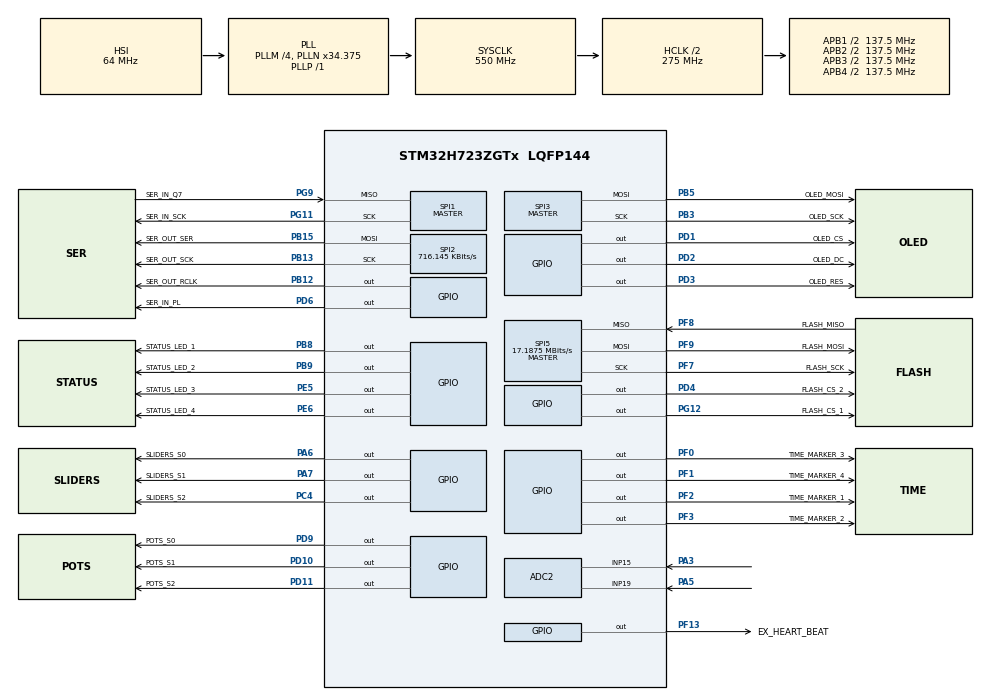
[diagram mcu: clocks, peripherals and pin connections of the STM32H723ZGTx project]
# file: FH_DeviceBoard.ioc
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ADC2.Channel-0\#ChannelRegularConversion=ADC_CHANNEL_15
ADC2.Channel-1\#ChannelRegularConversion=ADC_CHANNEL_19
ADC2.ClockPrescaler=ADC_CLOCK_ASYNC_DIV8
ADC2.ContinuousConvMode=DISABLE
ADC2.ConversionDataManagement=ADC_CONVERSIONDATA_DMA_ONESHOT
ADC2.EOCSelection=ADC_EOC_SEQ_CONV
ADC2.ExternalTrigConv=ADC_SOFTWARE_START
ADC2.NbrOfConversion=2
ADC2.NbrOfConversionFlag=1
ADC2.OffsetNumber-0\#ChannelRegularConversion=ADC_OFFSET_NONE
ADC2.OffsetNumber-1\#ChannelRegularConversion=ADC_OFFSET_NONE
ADC2.OffsetSignedSaturation-0\#ChannelRegularConversion=DISABLE
ADC2.OffsetSignedSaturation-1\#ChannelRegularConversion=DISABLE
ADC2.Rank-0\#ChannelRegularConversion=1
ADC2.Rank-1\#ChannelRegularConversion=2
ADC2.SamplingTime-0\#ChannelRegularConversion=ADC_SAMPLETIME_32CYCLES_5
ADC2.SamplingTime-1\#ChannelRegularConversion=ADC_SAMPLETIME_32CYCLES_5
CORTEX_M7.CPU_ICache=Enabled
CORTEX_M7.default_mode_Activation=1
Dma.ADC2.1.Direction=DMA_PERIPH_TO_MEMORY
Dma.ADC2.1.EventEnable=DISABLE
Dma.ADC2.1.FIFOMode=DMA_FIFOMODE_DISABLE
Dma.ADC2.1.Instance=DMA1_Stream1
Dma.ADC2.1.MemDataAlignment=DMA_MDATAALIGN_HALFWORD
Dma.ADC2.1.MemInc=DMA_MINC_ENABLE
Dma.ADC2.1.Mode=DMA_NORMAL
Dma.ADC2.1.PeriphDataAlignment=DMA_PDATAALIGN_HALFWORD
Dma.ADC2.1.PeriphInc=DMA_PINC_DISABLE
Dma.ADC2.1.Polarity=HAL_DMAMUX_REQ_GEN_RISING
Dma.ADC2.1.Priority=DMA_PRIORITY_MEDIUM
Dma.ADC2.1.RequestNumber=1
Dma.ADC2.1.SignalID=NONE
Dma.ADC2.1.SyncEnable=DISABLE
Dma.ADC2.1.SyncPolarity=HAL_DMAMUX_SYNC_NO_EVENT
Dma.ADC2.1.SyncRequestNumber=1
Dma.ADC2.1.SyncSignalID=NONE
Dma.Request0=SPI2_TX
Dma.Request1=ADC2
Dma.SPI2_TX.0.Direction=DMA_MEMORY_TO_PERIPH
Dma.SPI2_TX.0.EventEnable=DISABLE
Dma.SPI2_TX.0.FIFOMode=DMA_FIFOMODE_DISABLE
Dma.SPI2_TX.0.Instance=DMA1_Stream0
Dma.SPI2_TX.0.MemDataAlignment=DMA_MDATAALIGN_BYTE
Dma.SPI2_TX.0.MemInc=DMA_MINC_ENABLE
Dma.SPI2_TX.0.Mode=DMA_NORMAL
Dma.SPI2_TX.0.PeriphDataAlignment=DMA_PDATAALIGN_BYTE
Dma.SPI2_TX.0.PeriphInc=DMA_PINC_DISABLE
Dma.SPI2_TX.0.Polarity=HAL_DMAMUX_REQ_GEN_RISING
Dma.SPI2_TX.0.Priority=DMA_PRIORITY_LOW
Dma.SPI2_TX.0.RequestNumber=1
Dma.SPI2_TX.0.SignalID=NONE
Dma.SPI2_TX.0.SyncEnable=DISABLE
Dma.SPI2_TX.0.SyncPolarity=HAL_DMAMUX_SYNC_NO_EVENT
Dma.SPI2_TX.0.SyncRequestNumber=1
Dma.SPI2_TX.0.SyncSignalID=NONE
FREERTOS.Tasks01=defaultTask,24,128,StartDefaultTask,Default,NULL,Dynamic,NULL,NULL
FREERTOS.configENABLE_FPU=1
FREERTOS.configTOTAL_HEAP_SIZE=245760
FREERTOS.configUSE_NEWLIB_REENTRANT=1
Mcu.Family=STM32H7
Mcu.Name=STM32H723ZGTx
Mcu.Package=LQFP144
NVIC.ADC_IRQn=true\:5\:0\:false\:false\:true\:true\:true\:true\:true
NVIC.DMA1_Stream0_IRQn=true\:5\:0\:false\:false\:true\:true\:false\:true\:true
NVIC.DMA1_Stream1_IRQn=true\:5\:0\:false\:false\:true\:true\:false\:true\:true
NVIC.PriorityGroup=NVIC_PRIORITYGROUP_4
NVIC.SPI2_IRQn=true\:5\:0\:false\:false\:true\:true\:false\:true\:true
NVIC.TIM15_IRQn=true\:5\:0\:false\:false\:true\:true\:true\:true\:true
NVIC.TIM1_UP_IRQn=true\:15\:0\:false\:false\:true\:false\:false\:true\:true
NVIC.TIM4_IRQn=true\:5\:0\:false\:false\:true\:true\:true\:true\:true
NVIC.TIM6_DAC_IRQn=true\:5\:0\:false\:false\:true\:true\:true\:true\:true
NVIC.TimeBase=TIM1_UP_IRQn
NVIC.TimeBaseIP=TIM1
PA13(JTMS/SWDIO).Mode=Serial_Wire
PA13(JTMS/SWDIO).Signal=DEBUG_JTMS-SWDIO
PA14(JTCK/SWCLK).Mode=Serial_Wire
PA14(JTCK/SWCLK).Signal=DEBUG_JTCK-SWCLK
PA3.Signal=ADCx_INP15
PA5.Signal=ADCx_INP19
PA6.GPIO_Label=SLIDERS_S0
PA6.GPIO_Speed=GPIO_SPEED_FREQ_MEDIUM
PA6.Signal=GPIO_Output
PA7.GPIO_Label=SLIDERS_S1
PA7.GPIO_Speed=GPIO_SPEED_FREQ_MEDIUM
PA7.Signal=GPIO_Output
PB12.GPIO_Label=SER_OUT_RCLK
PB12.GPIO_Speed=GPIO_SPEED_FREQ_MEDIUM
PB12.PinState=GPIO_PIN_SET
PB12.Signal=GPIO_Output
PB13.GPIO_Label=SER_OUT_SCK
PB13.Mode=TX_Only_Simplex_Unidirect_Master
PB13.Signal=SPI2_SCK
PB15.GPIO_Label=SER_OUT_SER
PB15.Mode=TX_Only_Simplex_Unidirect_Master
PB15.Signal=SPI2_MOSI
PB3(JTDO/TRACESWO).GPIO_Label=OLED_SCK
PB3(JTDO/TRACESWO).Mode=TX_Only_Simplex_Unidirect_Master
PB3(JTDO/TRACESWO).Signal=SPI3_SCK
PB5.GPIO_Label=OLED_MOSI
PB5.Mode=TX_Only_Simplex_Unidirect_Master
PB5.Signal=SPI3_MOSI
PB8.GPIO_Label=STATUS_LED_1
PB8.GPIO_ModeDefaultOutputPP=GPIO_MODE_OUTPUT_OD
PB8.GPIO_PuPd=GPIO_NOPULL
PB8.PinState=GPIO_PIN_SET
PB8.Signal=GPIO_Output
PB9.GPIO_Label=STATUS_LED_2
PB9.GPIO_ModeDefaultOutputPP=GPIO_MODE_OUTPUT_OD
PB9.GPIO_PuPd=GPIO_NOPULL
PB9.PinState=GPIO_PIN_SET
PB9.Signal=GPIO_Output
PC4.GPIO_Label=SLIDERS_S2
PC4.GPIO_Speed=GPIO_SPEED_FREQ_MEDIUM
PC4.Signal=GPIO_Output
PD1.GPIO_Label=OLED_CS
PD1.GPIO_Speed=GPIO_SPEED_FREQ_MEDIUM
PD1.PinState=GPIO_PIN_SET
PD1.Signal=GPIO_Output
PD10.GPIO_Label=POTS_S1
PD10.GPIO_Speed=GPIO_SPEED_FREQ_MEDIUM
PD10.Signal=GPIO_Output
PD11.GPIO_Label=POTS_S2
PD11.GPIO_Speed=GPIO_SPEED_FREQ_MEDIUM
PD11.Signal=GPIO_Output
PD2.GPIO_Label=OLED_DC
PD2.GPIO_Speed=GPIO_SPEED_FREQ_MEDIUM
PD2.PinState=GPIO_PIN_SET
PD2.Signal=GPIO_Output
PD3.GPIO_Label=OLED_RES
PD3.GPIO_Speed=GPIO_SPEED_FREQ_MEDIUM
PD3.PinState=GPIO_PIN_SET
PD3.Signal=GPIO_Output
PD4.GPIO_Label=FLASH_CS_2
PD4.GPIO_Speed=GPIO_SPEED_FREQ_MEDIUM
PD4.PinState=GPIO_PIN_SET
PD4.Signal=GPIO_Output
PD6.GPIO_Label=SER_IN_PL
PD6.GPIO_Speed=GPIO_SPEED_FREQ_MEDIUM
PD6.PinState=GPIO_PIN_SET
PD6.Signal=GPIO_Output
PD9.GPIO_Label=POTS_S0
PD9.GPIO_Speed=GPIO_SPEED_FREQ_MEDIUM
PD9.Signal=GPIO_Output
PE5.GPIO_Label=STATUS_LED_3
PE5.GPIO_ModeDefaultOutputPP=GPIO_MODE_OUTPUT_OD
PE5.GPIO_PuPd=GPIO_NOPULL
PE5.PinState=GPIO_PIN_SET
PE5.Signal=GPIO_Output
PE6.GPIO_Label=STATUS_LED_4
PE6.GPIO_ModeDefaultOutputPP=GPIO_MODE_OUTPUT_OD
PE6.GPIO_PuPd=GPIO_NOPULL
PE6.PinState=GPIO_PIN_SET
PE6.Signal=GPIO_Output
PF0.GPIO_Label=TIME_MARKER_3
PF0.GPIO_Speed=GPIO_SPEED_FREQ_VERY_HIGH
PF0.Signal=GPIO_Output
PF1.GPIO_Label=TIME_MARKER_4
PF1.GPIO_Speed=GPIO_SPEED_FREQ_VERY_HIGH
PF1.Signal=GPIO_Output
PF13.GPIO_Label=EX_HEART_BEAT
PF13.PinState=GPIO_PIN_SET
PF13.Signal=GPIO_Output
PF2.GPIO_Label=TIME_MARKER_1
PF2.GPIO_Speed=GPIO_SPEED_FREQ_VERY_HIGH
PF2.Signal=GPIO_Output
PF3.GPIO_Label=TIME_MARKER_2
PF3.GPIO_Speed=GPIO_SPEED_FREQ_VERY_HIGH
PF3.Signal=GPIO_Output
PF7.GPIO_Label=FLASH_SCK
PF7.Mode=Full_Duplex_Master
PF7.Signal=SPI5_SCK
PF8.GPIO_Label=FLASH_MISO
PF8.Mode=Full_Duplex_Master
PF8.Signal=SPI5_MISO
PF9.GPIO_Label=FLASH_MOSI
PF9.Mode=Full_Duplex_Master
PF9.Signal=SPI5_MOSI
PG11.GPIO_Label=SER_IN_SCK
PG11.Mode=RX_Only_Simplex_Unidirect_Master
PG11.Signal=SPI1_SCK
PG12.GPIO_Label=FLASH_CS_1
PG12.GPIO_Speed=GPIO_SPEED_FREQ_MEDIUM
PG12.PinState=GPIO_PIN_SET
PG12.Signal=GPIO_Output
PG9.GPIO_Label=SER_IN_Q7
PG9.Mode=RX_Only_Simplex_Unidirect_Master
PG9.Signal=SPI1_MISO
PH0-OSC_IN.Mode=HSE-External-Oscillator
PH0-OSC_IN.Signal=RCC_OSC_IN
PH1-OSC_OUT.Mode=HSE-External-Oscillator
PH1-OSC_OUT.Signal=RCC_OSC_OUT
ProjectManager.HeapSize=0x200
ProjectManager.StackSize=0x400
ProjectManager.TargetToolchain=STM32CubeIDE
RCC.ADCFreq_Value=129000000
RCC.APB1Freq_Value=137500000
RCC.APB2Freq_Value=137500000
RCC.APB3Freq_Value=137500000
RCC.APB4Freq_Value=137500000
RCC.CortexFreq_Value=550000000
RCC.D1PPRE=RCC_APB3_DIV2
RCC.D2PPRE1=RCC_APB1_DIV2
RCC.D2PPRE2=RCC_APB2_DIV2
RCC.D3PPRE=RCC_APB4_DIV2
RCC.DIVM1=4
RCC.DIVN1=34
RCC.DIVP1=1
RCC.DIVQ1=3
RCC.HCLKFreq_Value=275000000
RCC.HPRE=RCC_HCLK_DIV2
RCC.PLL2FRACN=0
RCC.PLL3FRACN=0
RCC.PLLFRACN=3072
RCC.SYSCLKFreq_VALUE=550000000
RCC.SYSCLKSource=RCC_SYSCLKSOURCE_PLLCLK
RCC.USBFreq_Value=183333333.33333334
SH.ADCx_INP15.0=ADC2_INP15,IN15-Single-Ended
SH.ADCx_INP19.0=ADC2_INP19,IN19-Single-Ended
SPI1.BaudRatePrescaler=SPI_BAUDRATEPRESCALER_8
SPI1.CalculateBaudRate=22.916666 MBits/s
SPI1.DataSize=SPI_DATASIZE_8BIT
SPI1.Direction=SPI_DIRECTION_2LINES_RXONLY
SPI1.Mode=SPI_MODE_MASTER
SPI1.VirtualType=VM_MASTER
SPI2.BaudRatePrescaler=SPI_BAUDRATEPRESCALER_256
SPI2.CalculateBaudRate=716.145 KBits/s
SPI2.DataSize=SPI_DATASIZE_8BIT
SPI2.Direction=SPI_DIRECTION_2LINES_TXONLY
SPI2.Mode=SPI_MODE_MASTER
SPI2.VirtualType=VM_MASTER
SPI3.BaudRatePrescaler=SPI_BAUDRATEPRESCALER_16
SPI3.CalculateBaudRate=11.458333 MBits/s
SPI3.DataSize=SPI_DATASIZE_8BIT
SPI3.Direction=SPI_DIRECTION_2LINES_TXONLY
SPI3.Mode=SPI_MODE_MASTER
SPI3.VirtualType=VM_MASTER
SPI5.BaudRatePrescaler=SPI_BAUDRATEPRESCALER_8
SPI5.CalculateBaudRate=17.1875 MBits/s
SPI5.DataSize=SPI_DATASIZE_8BIT
SPI5.Direction=SPI_DIRECTION_2LINES
SPI5.Mode=SPI_MODE_MASTER
SPI5.VirtualType=VM_MASTER
TIM15.Period=100 - 1
TIM15.Prescaler=24000 - 1
TIM4.Period=1000 - 1
TIM4.Prescaler=120 - 1
TIM6.Prescaler=120 - 1
VP_FREERTOS_VS_CMSIS_V2.Mode=CMSIS_V2
VP_MEMORYMAP_VS_MEMORYMAP.Mode=CurAppReg
VP_SYS_VS_tim1.Mode=TIM1
VP_TIM15_VS_ClockSourceINT.Mode=Internal
VP_TIM4_VS_ClockSourceINT.Mode=Internal
VP_TIM6_VS_ClockSourceINT.Mode=Enable_Timer
board=custom

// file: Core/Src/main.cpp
/* USER CODE BEGIN Header */
/**
  ******************************************************************************
  * @file           : main.c
  * @brief          : Main program body
  ******************************************************************************
  * @attention
  *
  * Copyright (c) 2025 STMicroelectronics.
  * All rights reserved.
  *
  * This software is licensed under terms that can be found in the LICENSE file
  * in the root directory of this software component.
  * If no LICENSE file comes with this software, it is provided AS-IS.
  *
  ******************************************************************************
  */
/* USER CODE END Header */
#include "main.h"
#include "cmsis_os.h"

/* USER CODE BEGIN Includes */

#include "../../DeviceBoardEngine/UI_Definitions.h"

#include "CasualNoises.h"
#include "SystemConfig.h"

//#include "YellowPages.h"

#include "UI_Thread.h"
//#include "EventHandlerThread.h"

#include "../CasualNoises/NerveNet/NerveNetMessage.h"

/* USER CODE END Includes */

ADC_HandleTypeDef hadc2;
DMA_HandleTypeDef hdma_adc2;

SPI_HandleTypeDef hspi1;
SPI_HandleTypeDef hspi2;
SPI_HandleTypeDef hspi3;
SPI_HandleTypeDef hspi5;
DMA_HandleTypeDef hdma_spi2_tx;

TIM_HandleTypeDef htim4;
TIM_HandleTypeDef htim6;
TIM_HandleTypeDef htim15;

/* Definitions for defaultTask */
osThreadId_t defaultTaskHandle;
const osThreadAttr_t defaultTask_attributes = {
  .name = "defaultTask",
  .stack_size = 128 * 4,
  .priority = (osPriority_t) osPriorityNormal,
};

void SystemClock_Config(void);
static void MPU_Config(void);
static void MX_GPIO_Init(void);
static void MX_DMA_Init(void);
static void MX_SPI2_Init(void);
static void MX_SPI3_Init(void);
static void MX_SPI5_Init(void);
static void MX_TIM4_Init(void);
static void MX_SPI1_Init(void);
static void MX_ADC2_Init(void);
static void MX_TIM6_Init(void);
static void MX_TIM15_Init(void);
void StartDefaultTask(void *argument);

/* USER CODE BEGIN 0 */

/*
 * displayStatus()
 */
void displayStatus(eStatusCodes status)
{
	uint32_t code = (uint32_t)status;
	HAL_GPIO_WritePin(GPIOB, STATUS_LED_2_Pin|STATUS_LED_1_Pin, GPIO_PIN_SET);
	HAL_GPIO_WritePin(GPIOE, STATUS_LED_4_Pin|STATUS_LED_3_Pin, GPIO_PIN_SET);
	if (code & 0x00000001)
		HAL_GPIO_WritePin(GPIOB, STATUS_LED_1_Pin, GPIO_PIN_RESET);
	if (code & 0x00000002)
		HAL_GPIO_WritePin(GPIOB, STATUS_LED_2_Pin, GPIO_PIN_RESET);
	if (code & 0x00000004)
		HAL_GPIO_WritePin(GPIOE, STATUS_LED_3_Pin, GPIO_PIN_RESET);
	if (code & 0x00000008)
		HAL_GPIO_WritePin(GPIOE, STATUS_LED_4_Pin, GPIO_PIN_RESET);
}

/*
 * Time marker functions used for performance measurement using a logic analyzer
 */
void toggleTimeMarker_1()
{
	HAL_GPIO_TogglePin(GPIOF, TIME_MARKER_1_Pin);
}

void setTimeMarker_1()
{
	HAL_GPIO_WritePin(GPIOF, TIME_MARKER_1_Pin, GPIO_PIN_SET);
}

void resetTimeMarker_1()
{
	HAL_GPIO_WritePin(GPIOF, TIME_MARKER_1_Pin, GPIO_PIN_RESET);
}

void toggleTimeMarker_2()
{
	HAL_GPIO_TogglePin(GPIOF, TIME_MARKER_2_Pin);
}

void setTimeMarker_2()
{
	HAL_GPIO_WritePin(GPIOF, TIME_MARKER_2_Pin, GPIO_PIN_SET);
}

void resetTimeMarker_2()
{
	HAL_GPIO_WritePin(GPIOF, TIME_MARKER_2_Pin, GPIO_PIN_RESET);
}

void toggleTimeMarker_3()
{
	HAL_GPIO_TogglePin(GPIOF, TIME_MARKER_3_Pin);
}

void setTimeMarker_3()
{
	HAL_GPIO_WritePin(GPIOF, TIME_MARKER_3_Pin, GPIO_PIN_SET);
}

void resetTimeMarker_3()
{
	HAL_GPIO_WritePin(GPIOF, TIME_MARKER_3_Pin, GPIO_PIN_RESET);
}

void toggleTimeMarker_4()
{
	HAL_GPIO_TogglePin(GPIOF, TIME_MARKER_4_Pin);
}

void setTimeMarker_4()
{
	HAL_GPIO_WritePin(GPIOF, TIME_MARKER_4_Pin, GPIO_PIN_SET);
}

void resetTimeMarker_4()
{
	HAL_GPIO_WritePin(GPIOF, TIME_MARKER_4_Pin, GPIO_PIN_RESET);
}

/* USER CODE END 0 */

int main(void)
{

  /* MPU Configuration--------------------------------------------------------*/
  MPU_Config();

  /* Enable the CPU Cache */

  /* Enable I-Cache---------------------------------------------------------*/
  SCB_EnableICache();

  /* MCU Configuration--------------------------------------------------------*/

  /* Reset of all peripherals, Initializes the Flash interface and the Systick. */
  HAL_Init();

  /* Configure the system clock */
  SystemClock_Config();

  /* Initialize all configured peripherals */
  MX_GPIO_Init();
  MX_DMA_Init();
  MX_SPI2_Init();
  MX_SPI3_Init();
  MX_SPI5_Init();
  MX_TIM4_Init();
  MX_SPI1_Init();
  MX_ADC2_Init();
  MX_TIM6_Init();
  MX_TIM15_Init();
  /* USER CODE BEGIN 2 */
/*
  HAL_StatusTypeDef res;

  uint32_t state;
  uint16_t data;
  uint32_t cnt = 0;
  for (;;)
  {
	  res = HAL_ADC_Start(&hadc2);
	  res = HAL_ADC_PollForConversion(&hadc2, 1);
	  state = HAL_ADC_GetState(&hadc2);
	  if ((state & HAL_ADC_STATE_REG_BUSY) != 0UL)
	  {
		  ++cnt;
	  }
	  data = HAL_ADC_GetValue(&hadc2);
	  HAL_ADC_Stop(&hadc2);
  }
*/

  /* USER CODE END 2 */

  /* Init scheduler */
  osKernelInitialize();

  /* Create the thread(s) */
  /* creation of defaultTask */
  defaultTaskHandle = osThreadNew(StartDefaultTask, NULL, &defaultTask_attributes);

  /* Start scheduler */
  osKernelStart();

  /* We should never get here as control is now taken by the scheduler */

  /* Infinite loop */
  while (1)
  {

  }
}

void SystemClock_Config(void)
{
  RCC_OscInitTypeDef RCC_OscInitStruct = {0};
  RCC_ClkInitTypeDef RCC_ClkInitStruct = {0};

  /** Supply configuration update enable
  */
  HAL_PWREx_ConfigSupply(PWR_LDO_SUPPLY);

  /** Configure the main internal regulator output voltage
  */
  __HAL_PWR_VOLTAGESCALING_CONFIG(PWR_REGULATOR_VOLTAGE_SCALE0);

  while(!__HAL_PWR_GET_FLAG(PWR_FLAG_VOSRDY)) {}

  /** Initializes the RCC Oscillators according to the specified parameters
  * in the RCC_OscInitTypeDef structure.
  */
  RCC_OscInitStruct.OscillatorType = RCC_OSCILLATORTYPE_HSI;
  RCC_OscInitStruct.HSIState = RCC_HSI_DIV1;
  RCC_OscInitStruct.HSICalibrationValue = 64;
  RCC_OscInitStruct.PLL.PLLState = RCC_PLL_ON;
  RCC_OscInitStruct.PLL.PLLSource = RCC_PLLSOURCE_HSI;
  RCC_OscInitStruct.PLL.PLLM = 4;
  RCC_OscInitStruct.PLL.PLLN = 34;
  RCC_OscInitStruct.PLL.PLLP = 1;
  RCC_OscInitStruct.PLL.PLLQ = 3;
  RCC_OscInitStruct.PLL.PLLR = 2;
  RCC_OscInitStruct.PLL.PLLRGE = RCC_PLL1VCIRANGE_3;
  RCC_OscInitStruct.PLL.PLLVCOSEL = RCC_PLL1VCOWIDE;
  RCC_OscInitStruct.PLL.PLLFRACN = 3072;
  if (HAL_RCC_OscConfig(&RCC_OscInitStruct) != HAL_OK)
  {
    Error_Handler();
  }

  /** Initializes the CPU, AHB and APB buses clocks
  */
  RCC_ClkInitStruct.ClockType = RCC_CLOCKTYPE_HCLK|RCC_CLOCKTYPE_SYSCLK
                              |RCC_CLOCKTYPE_PCLK1|RCC_CLOCKTYPE_PCLK2
                              |RCC_CLOCKTYPE_D3PCLK1|RCC_CLOCKTYPE_D1PCLK1;
  RCC_ClkInitStruct.SYSCLKSource = RCC_SYSCLKSOURCE_PLLCLK;
  RCC_ClkInitStruct.SYSCLKDivider = RCC_SYSCLK_DIV1;
  RCC_ClkInitStruct.AHBCLKDivider = RCC_HCLK_DIV2;
  RCC_ClkInitStruct.APB3CLKDivider = RCC_APB3_DIV2;
  RCC_ClkInitStruct.APB1CLKDivider = RCC_APB1_DIV2;
  RCC_ClkInitStruct.APB2CLKDivider = RCC_APB2_DIV2;
  RCC_ClkInitStruct.APB4CLKDivider = RCC_APB4_DIV2;

  if (HAL_RCC_ClockConfig(&RCC_ClkInitStruct, FLASH_LATENCY_3) != HAL_OK)
  {
    Error_Handler();
  }
}

static void MX_ADC2_Init(void)
{

  ADC_ChannelConfTypeDef sConfig = {0};

  /** Common config
  */
  hadc2.Instance = ADC2;
  hadc2.Init.ClockPrescaler = ADC_CLOCK_ASYNC_DIV8;
  hadc2.Init.Resolution = ADC_RESOLUTION_16B;
  hadc2.Init.ScanConvMode = ADC_SCAN_ENABLE;
  hadc2.Init.EOCSelection = ADC_EOC_SEQ_CONV;
  hadc2.Init.LowPowerAutoWait = DISABLE;
  hadc2.Init.ContinuousConvMode = DISABLE;
  hadc2.Init.NbrOfConversion = 2;
  hadc2.Init.DiscontinuousConvMode = DISABLE;
  hadc2.Init.ExternalTrigConv = ADC_SOFTWARE_START;
  hadc2.Init.ExternalTrigConvEdge = ADC_EXTERNALTRIGCONVEDGE_NONE;
  hadc2.Init.ConversionDataManagement = ADC_CONVERSIONDATA_DMA_ONESHOT;
  hadc2.Init.Overrun = ADC_OVR_DATA_PRESERVED;
  hadc2.Init.LeftBitShift = ADC_LEFTBITSHIFT_NONE;
  hadc2.Init.OversamplingMode = DISABLE;
  hadc2.Init.Oversampling.Ratio = 1;
  if (HAL_ADC_Init(&hadc2) != HAL_OK)
  {
    Error_Handler();
  }

  /** Configure Regular Channel
  */
  sConfig.Channel = ADC_CHANNEL_15;
  sConfig.Rank = ADC_REGULAR_RANK_1;
  sConfig.SamplingTime = ADC_SAMPLETIME_32CYCLES_5;
  sConfig.SingleDiff = ADC_SINGLE_ENDED;
  sConfig.OffsetNumber = ADC_OFFSET_NONE;
  sConfig.Offset = 0;
  sConfig.OffsetSignedSaturation = DISABLE;
  if (HAL_ADC_ConfigChannel(&hadc2, &sConfig) != HAL_OK)
  {
    Error_Handler();
  }

  /** Configure Regular Channel
  */
  sConfig.Channel = ADC_CHANNEL_19;
  sConfig.Rank = ADC_REGULAR_RANK_2;
  if (HAL_ADC_ConfigChannel(&hadc2, &sConfig) != HAL_OK)
  {
    Error_Handler();
  }

}

static void MX_SPI1_Init(void)
{

  /* SPI1 parameter configuration*/
  hspi1.Instance = SPI1;
  hspi1.Init.Mode = SPI_MODE_MASTER;
  hspi1.Init.Direction = SPI_DIRECTION_2LINES_RXONLY;
  hspi1.Init.DataSize = SPI_DATASIZE_8BIT;
  hspi1.Init.CLKPolarity = SPI_POLARITY_LOW;
  hspi1.Init.CLKPhase = SPI_PHASE_1EDGE;
  hspi1.Init.NSS = SPI_NSS_SOFT;
  hspi1.Init.BaudRatePrescaler = SPI_BAUDRATEPRESCALER_8;
  hspi1.Init.FirstBit = SPI_FIRSTBIT_MSB;
  hspi1.Init.TIMode = SPI_TIMODE_DISABLE;
  hspi1.Init.CRCCalculation = SPI_CRCCALCULATION_DISABLE;
  hspi1.Init.CRCPolynomial = 0x0;
  hspi1.Init.NSSPMode = SPI_NSS_PULSE_ENABLE;
  hspi1.Init.NSSPolarity = SPI_NSS_POLARITY_LOW;
  hspi1.Init.FifoThreshold = SPI_FIFO_THRESHOLD_01DATA;
  hspi1.Init.TxCRCInitializationPattern = SPI_CRC_INITIALIZATION_ALL_ZERO_PATTERN;
  hspi1.Init.RxCRCInitializationPattern = SPI_CRC_INITIALIZATION_ALL_ZERO_PATTERN;
  hspi1.Init.MasterSSIdleness = SPI_MASTER_SS_IDLENESS_00CYCLE;
  hspi1.Init.MasterInterDataIdleness = SPI_MASTER_INTERDATA_IDLENESS_00CYCLE;
  hspi1.Init.MasterReceiverAutoSusp = SPI_MASTER_RX_AUTOSUSP_DISABLE;
  hspi1.Init.MasterKeepIOState = SPI_MASTER_KEEP_IO_STATE_DISABLE;
  hspi1.Init.IOSwap = SPI_IO_SWAP_DISABLE;
  if (HAL_SPI_Init(&hspi1) != HAL_OK)
  {
    Error_Handler();
  }

}

static void MX_SPI2_Init(void)
{

  /* SPI2 parameter configuration*/
  hspi2.Instance = SPI2;
  hspi2.Init.Mode = SPI_MODE_MASTER;
  hspi2.Init.Direction = SPI_DIRECTION_2LINES_TXONLY;
  hspi2.Init.DataSize = SPI_DATASIZE_8BIT;
  hspi2.Init.CLKPolarity = SPI_POLARITY_LOW;
  hspi2.Init.CLKPhase = SPI_PHASE_1EDGE;
  hspi2.Init.NSS = SPI_NSS_SOFT;
  hspi2.Init.BaudRatePrescaler = SPI_BAUDRATEPRESCALER_256;
  hspi2.Init.FirstBit = SPI_FIRSTBIT_MSB;
  hspi2.Init.TIMode = SPI_TIMODE_DISABLE;
  hspi2.Init.CRCCalculation = SPI_CRCCALCULATION_DISABLE;
  hspi2.Init.CRCPolynomial = 0x0;
  hspi2.Init.NSSPMode = SPI_NSS_PULSE_ENABLE;
  hspi2.Init.NSSPolarity = SPI_NSS_POLARITY_LOW;
  hspi2.Init.FifoThreshold = SPI_FIFO_THRESHOLD_01DATA;
  hspi2.Init.TxCRCInitializationPattern = SPI_CRC_INITIALIZATION_ALL_ZERO_PATTERN;
  hspi2.Init.RxCRCInitializationPattern = SPI_CRC_INITIALIZATION_ALL_ZERO_PATTERN;
  hspi2.Init.MasterSSIdleness = SPI_MASTER_SS_IDLENESS_00CYCLE;
  hspi2.Init.MasterInterDataIdleness = SPI_MASTER_INTERDATA_IDLENESS_00CYCLE;
  hspi2.Init.MasterReceiverAutoSusp = SPI_MASTER_RX_AUTOSUSP_DISABLE;
  hspi2.Init.MasterKeepIOState = SPI_MASTER_KEEP_IO_STATE_DISABLE;
  hspi2.Init.IOSwap = SPI_IO_SWAP_DISABLE;
  if (HAL_SPI_Init(&hspi2) != HAL_OK)
  {
    Error_Handler();
  }

}

static void MX_SPI3_Init(void)
{

  /* SPI3 parameter configuration*/
  hspi3.Instance = SPI3;
  hspi3.Init.Mode = SPI_MODE_MASTER;
  hspi3.Init.Direction = SPI_DIRECTION_2LINES_TXONLY;
  hspi3.Init.DataSize = SPI_DATASIZE_8BIT;
  hspi3.Init.CLKPolarity = SPI_POLARITY_LOW;
  hspi3.Init.CLKPhase = SPI_PHASE_1EDGE;
  hspi3.Init.NSS = SPI_NSS_SOFT;
  hspi3.Init.BaudRatePrescaler = SPI_BAUDRATEPRESCALER_16;
  hspi3.Init.FirstBit = SPI_FIRSTBIT_MSB;
  hspi3.Init.TIMode = SPI_TIMODE_DISABLE;
  hspi3.Init.CRCCalculation = SPI_CRCCALCULATION_DISABLE;
  hspi3.Init.CRCPolynomial = 0x0;
  hspi3.Init.NSSPMode = SPI_NSS_PULSE_ENABLE;
  hspi3.Init.NSSPolarity = SPI_NSS_POLARITY_LOW;
  hspi3.Init.FifoThreshold = SPI_FIFO_THRESHOLD_01DATA;
  hspi3.Init.TxCRCInitializationPattern = SPI_CRC_INITIALIZATION_ALL_ZERO_PATTERN;
  hspi3.Init.RxCRCInitializationPattern = SPI_CRC_INITIALIZATION_ALL_ZERO_PATTERN;
  hspi3.Init.MasterSSIdleness = SPI_MASTER_SS_IDLENESS_00CYCLE;
  hspi3.Init.MasterInterDataIdleness = SPI_MASTER_INTERDATA_IDLENESS_00CYCLE;
  hspi3.Init.MasterReceiverAutoSusp = SPI_MASTER_RX_AUTOSUSP_DISABLE;
  hspi3.Init.MasterKeepIOState = SPI_MASTER_KEEP_IO_STATE_DISABLE;
  hspi3.Init.IOSwap = SPI_IO_SWAP_DISABLE;
  if (HAL_SPI_Init(&hspi3) != HAL_OK)
  {
    Error_Handler();
  }

}

static void MX_SPI5_Init(void)
{

  /* SPI5 parameter configuration*/
  hspi5.Instance = SPI5;
  hspi5.Init.Mode = SPI_MODE_MASTER;
  hspi5.Init.Direction = SPI_DIRECTION_2LINES;
  hspi5.Init.DataSize = SPI_DATASIZE_8BIT;
  hspi5.Init.CLKPolarity = SPI_POLARITY_LOW;
  hspi5.Init.CLKPhase = SPI_PHASE_1EDGE;
  hspi5.Init.NSS = SPI_NSS_SOFT;
  hspi5.Init.BaudRatePrescaler = SPI_BAUDRATEPRESCALER_8;
  hspi5.Init.FirstBit = SPI_FIRSTBIT_MSB;
  hspi5.Init.TIMode = SPI_TIMODE_DISABLE;
  hspi5.Init.CRCCalculation = SPI_CRCCALCULATION_DISABLE;
  hspi5.Init.CRCPolynomial = 0x0;
  hspi5.Init.NSSPMode = SPI_NSS_PULSE_ENABLE;
  hspi5.Init.NSSPolarity = SPI_NSS_POLARITY_LOW;
  hspi5.Init.FifoThreshold = SPI_FIFO_THRESHOLD_01DATA;
  hspi5.Init.TxCRCInitializationPattern = SPI_CRC_INITIALIZATION_ALL_ZERO_PATTERN;
  hspi5.Init.RxCRCInitializationPattern = SPI_CRC_INITIALIZATION_ALL_ZERO_PATTERN;
  hspi5.Init.MasterSSIdleness = SPI_MASTER_SS_IDLENESS_00CYCLE;
  hspi5.Init.MasterInterDataIdleness = SPI_MASTER_INTERDATA_IDLENESS_00CYCLE;
  hspi5.Init.MasterReceiverAutoSusp = SPI_MASTER_RX_AUTOSUSP_DISABLE;
  hspi5.Init.MasterKeepIOState = SPI_MASTER_KEEP_IO_STATE_DISABLE;
  hspi5.Init.IOSwap = SPI_IO_SWAP_DISABLE;
  if (HAL_SPI_Init(&hspi5) != HAL_OK)
  {
    Error_Handler();
  }

}

static void MX_TIM4_Init(void)
{

  TIM_ClockConfigTypeDef sClockSourceConfig = {0};
  TIM_MasterConfigTypeDef sMasterConfig = {0};

  htim4.Instance = TIM4;
  htim4.Init.Prescaler = 120 - 1;
  htim4.Init.CounterMode = TIM_COUNTERMODE_UP;
  htim4.Init.Period = 1000 - 1;
  htim4.Init.ClockDivision = TIM_CLOCKDIVISION_DIV1;
  htim4.Init.AutoReloadPreload = TIM_AUTORELOAD_PRELOAD_DISABLE;
  if (HAL_TIM_Base_Init(&htim4) != HAL_OK)
  {
    Error_Handler();
  }
  sClockSourceConfig.ClockSource = TIM_CLOCKSOURCE_INTERNAL;
  if (HAL_TIM_ConfigClockSource(&htim4, &sClockSourceConfig) != HAL_OK)
  {
    Error_Handler();
  }
  sMasterConfig.MasterOutputTrigger = TIM_TRGO_RESET;
  sMasterConfig.MasterSlaveMode = TIM_MASTERSLAVEMODE_DISABLE;
  if (HAL_TIMEx_MasterConfigSynchronization(&htim4, &sMasterConfig) != HAL_OK)
  {
    Error_Handler();
  }

}

static void MX_TIM6_Init(void)
{

  TIM_MasterConfigTypeDef sMasterConfig = {0};

  htim6.Instance = TIM6;
  htim6.Init.Prescaler = 120 - 1;
  htim6.Init.CounterMode = TIM_COUNTERMODE_UP;
  htim6.Init.Period = 65535;
  htim6.Init.AutoReloadPreload = TIM_AUTORELOAD_PRELOAD_DISABLE;
  if (HAL_TIM_Base_Init(&htim6) != HAL_OK)
  {
    Error_Handler();
  }
  sMasterConfig.MasterOutputTrigger = TIM_TRGO_RESET;
  sMasterConfig.MasterSlaveMode = TIM_MASTERSLAVEMODE_DISABLE;
  if (HAL_TIMEx_MasterConfigSynchronization(&htim6, &sMasterConfig) != HAL_OK)
  {
    Error_Handler();
  }

}

static void MX_TIM15_Init(void)
{

  TIM_ClockConfigTypeDef sClockSourceConfig = {0};
  TIM_MasterConfigTypeDef sMasterConfig = {0};

  htim15.Instance = TIM15;
  htim15.Init.Prescaler = 24000 - 1;
  htim15.Init.CounterMode = TIM_COUNTERMODE_UP;
  htim15.Init.Period = 100 - 1;
  htim15.Init.ClockDivision = TIM_CLOCKDIVISION_DIV1;
  htim15.Init.RepetitionCounter = 0;
  htim15.Init.AutoReloadPreload = TIM_AUTORELOAD_PRELOAD_DISABLE;
  if (HAL_TIM_Base_Init(&htim15) != HAL_OK)
  {
    Error_Handler();
  }
  sClockSourceConfig.ClockSource = TIM_CLOCKSOURCE_INTERNAL;
  if (HAL_TIM_ConfigClockSource(&htim15, &sClockSourceConfig) != HAL_OK)
  {
    Error_Handler();
  }
  sMasterConfig.MasterOutputTrigger = TIM_TRGO_RESET;
  sMasterConfig.MasterSlaveMode = TIM_MASTERSLAVEMODE_DISABLE;
  if (HAL_TIMEx_MasterConfigSynchronization(&htim15, &sMasterConfig) != HAL_OK)
  {
    Error_Handler();
  }

}

static void MX_DMA_Init(void)
{

  /* DMA controller clock enable */
  __HAL_RCC_DMA1_CLK_ENABLE();

  /* DMA interrupt init */
  /* DMA1_Stream0_IRQn interrupt configuration */
  HAL_NVIC_SetPriority(DMA1_Stream0_IRQn, 5, 0);
  HAL_NVIC_EnableIRQ(DMA1_Stream0_IRQn);
  /* DMA1_Stream1_IRQn interrupt configuration */
  HAL_NVIC_SetPriority(DMA1_Stream1_IRQn, 5, 0);
  HAL_NVIC_EnableIRQ(DMA1_Stream1_IRQn);

}

static void MX_GPIO_Init(void)
{
  GPIO_InitTypeDef GPIO_InitStruct = {0};

  /* GPIO Ports Clock Enable */
  __HAL_RCC_GPIOE_CLK_ENABLE();
  __HAL_RCC_GPIOF_CLK_ENABLE();
  __HAL_RCC_GPIOH_CLK_ENABLE();
  __HAL_RCC_GPIOA_CLK_ENABLE();
  __HAL_RCC_GPIOC_CLK_ENABLE();
  __HAL_RCC_GPIOB_CLK_ENABLE();
  __HAL_RCC_GPIOD_CLK_ENABLE();
  __HAL_RCC_GPIOG_CLK_ENABLE();

  /*Configure GPIO pin Output Level */
  HAL_GPIO_WritePin(GPIOE, STATUS_LED_3_Pin|STATUS_LED_4_Pin, GPIO_PIN_SET);

  /*Configure GPIO pin Output Level */
  HAL_GPIO_WritePin(GPIOF, TIME_MARKER_3_Pin|TIME_MARKER_4_Pin|TIME_MARKER_1_Pin|TIME_MARKER_2_Pin, GPIO_PIN_RESET);

  /*Configure GPIO pin Output Level */
  HAL_GPIO_WritePin(GPIOA, SLIDERS_S0_Pin|SLIDERS_S1_Pin, GPIO_PIN_RESET);

  /*Configure GPIO pin Output Level */
  HAL_GPIO_WritePin(SLIDERS_S2_GPIO_Port, SLIDERS_S2_Pin, GPIO_PIN_RESET);

  /*Configure GPIO pin Output Level */
  HAL_GPIO_WritePin(EX_HEART_BEAT_GPIO_Port, EX_HEART_BEAT_Pin, GPIO_PIN_SET);

  /*Configure GPIO pin Output Level */
  HAL_GPIO_WritePin(GPIOB, SER_OUT_RCLK_Pin|STATUS_LED_1_Pin|STATUS_LED_2_Pin, GPIO_PIN_SET);

  /*Configure GPIO pin Output Level */
  HAL_GPIO_WritePin(GPIOD, POTS_S0_Pin|POTS_S1_Pin|POTS_S2_Pin, GPIO_PIN_RESET);

  /*Configure GPIO pin Output Level */
  HAL_GPIO_WritePin(GPIOD, OLED_CS_Pin|OLED_DC_Pin|OLED_RES_Pin|FLASH_CS_2_Pin
                          |SER_IN_PL_Pin, GPIO_PIN_SET);

  /*Configure GPIO pin Output Level */
  HAL_GPIO_WritePin(FLASH_CS_1_GPIO_Port, FLASH_CS_1_Pin, GPIO_PIN_SET);

  /*Configure GPIO pins : STATUS_LED_3_Pin STATUS_LED_4_Pin */
  GPIO_InitStruct.Pin = STATUS_LED_3_Pin|STATUS_LED_4_Pin;
  GPIO_InitStruct.Mode = GPIO_MODE_OUTPUT_OD;
  GPIO_InitStruct.Pull = GPIO_NOPULL;
  GPIO_InitStruct.Speed = GPIO_SPEED_FREQ_LOW;
  HAL_GPIO_Init(GPIOE, &GPIO_InitStruct);

  /*Configure GPIO pins : TIME_MARKER_3_Pin TIME_MARKER_4_Pin TIME_MARKER_1_Pin TIME_MARKER_2_Pin */
  GPIO_InitStruct.Pin = TIME_MARKER_3_Pin|TIME_MARKER_4_Pin|TIME_MARKER_1_Pin|TIME_MARKER_2_Pin;
  GPIO_InitStruct.Mode = GPIO_MODE_OUTPUT_PP;
  GPIO_InitStruct.Pull = GPIO_NOPULL;
  GPIO_InitStruct.Speed = GPIO_SPEED_FREQ_VERY_HIGH;
  HAL_GPIO_Init(GPIOF, &GPIO_InitStruct);

  /*Configure GPIO pins : SLIDERS_S0_Pin SLIDERS_S1_Pin */
  GPIO_InitStruct.Pin = SLIDERS_S0_Pin|SLIDERS_S1_Pin;
  GPIO_InitStruct.Mode = GPIO_MODE_OUTPUT_PP;
  GPIO_InitStruct.Pull = GPIO_NOPULL;
  GPIO_InitStruct.Speed = GPIO_SPEED_FREQ_MEDIUM;
  HAL_GPIO_Init(GPIOA, &GPIO_InitStruct);

  /*Configure GPIO pin : SLIDERS_S2_Pin */
  GPIO_InitStruct.Pin = SLIDERS_S2_Pin;
  GPIO_InitStruct.Mode = GPIO_MODE_OUTPUT_PP;
  GPIO_InitStruct.Pull = GPIO_NOPULL;
  GPIO_InitStruct.Speed = GPIO_SPEED_FREQ_MEDIUM;
  HAL_GPIO_Init(SLIDERS_S2_GPIO_Port, &GPIO_InitStruct);

  /*Configure GPIO pin : EX_HEART_BEAT_Pin */
  GPIO_InitStruct.Pin = EX_HEART_BEAT_Pin;
  GPIO_InitStruct.Mode = GPIO_MODE_OUTPUT_PP;
  GPIO_InitStruct.Pull = GPIO_NOPULL;
  GPIO_InitStruct.Speed = GPIO_SPEED_FREQ_LOW;
  HAL_GPIO_Init(EX_HEART_BEAT_GPIO_Port, &GPIO_InitStruct);

  /*Configure GPIO pin : SER_OUT_RCLK_Pin */
  GPIO_InitStruct.Pin = SER_OUT_RCLK_Pin;
  GPIO_InitStruct.Mode = GPIO_MODE_OUTPUT_PP;
  GPIO_InitStruct.Pull = GPIO_NOPULL;
  GPIO_InitStruct.Speed = GPIO_SPEED_FREQ_MEDIUM;
  HAL_GPIO_Init(SER_OUT_RCLK_GPIO_Port, &GPIO_InitStruct);

  /*Configure GPIO pins : POTS_S0_Pin POTS_S1_Pin POTS_S2_Pin OLED_CS_Pin
                           OLED_DC_Pin OLED_RES_Pin FLASH_CS_2_Pin SER_IN_PL_Pin */
  GPIO_InitStruct.Pin = POTS_S0_Pin|POTS_S1_Pin|POTS_S2_Pin|OLED_CS_Pin
                          |OLED_DC_Pin|OLED_RES_Pin|FLASH_CS_2_Pin|SER_IN_PL_Pin;
  GPIO_InitStruct.Mode = GPIO_MODE_OUTPUT_PP;
  GPIO_InitStruct.Pull = GPIO_NOPULL;
  GPIO_InitStruct.Speed = GPIO_SPEED_FREQ_MEDIUM;
  HAL_GPIO_Init(GPIOD, &GPIO_InitStruct);

  /*Configure GPIO pin : FLASH_CS_1_Pin */
  GPIO_InitStruct.Pin = FLASH_CS_1_Pin;
  GPIO_InitStruct.Mode = GPIO_MODE_OUTPUT_PP;
  GPIO_InitStruct.Pull = GPIO_NOPULL;
  GPIO_InitStruct.Speed = GPIO_SPEED_FREQ_MEDIUM;
  HAL_GPIO_Init(FLASH_CS_1_GPIO_Port, &GPIO_InitStruct);

  /*Configure GPIO pins : STATUS_LED_1_Pin STATUS_LED_2_Pin */
  GPIO_InitStruct.Pin = STATUS_LED_1_Pin|STATUS_LED_2_Pin;
  GPIO_InitStruct.Mode = GPIO_MODE_OUTPUT_OD;
  GPIO_InitStruct.Pull = GPIO_NOPULL;
  GPIO_InitStruct.Speed = GPIO_SPEED_FREQ_LOW;
  HAL_GPIO_Init(GPIOB, &GPIO_InitStruct);

}

void StartDefaultTask(void *argument)
{
  /* USER CODE BEGIN 5 */

	// Sweep the status led's as a sign of live...
	displayStatus((eStatusCodes)0x01);
	osDelay(100);
	displayStatus((eStatusCodes)0x02);
	osDelay(100);
	displayStatus((eStatusCodes)0x04);
	osDelay(100);
	displayStatus((eStatusCodes)0x08);
	osDelay(100);
	displayStatus(scStartingUp);

    // Get the amount of free heap memory
    size_t xFreeHeapSize = xPortGetFreeHeapSize();
    UNUSED(xFreeHeapSize);

    // Create a trigger thread to toggle TimeMarker_1
	TaskHandle_t xHandle;
	BaseType_t res = xTaskCreate(CasualNoises::TriggerThread, "TriggerThread", 32, nullptr,
			TRIGGER_THREAD_PRIORITY, &xHandle);
	UNUSED(res);

	// Create a signature map for all encoders/switches
	uint32_t num;
	constexpr uint32_t noOfEncoders 	= 1 + 7;			// 1 encoder & 7 switches
	static CasualNoises::sEncoderSignature encoderSignatures[noOfEncoders];
	num = 0;												// Encoder #1 (Value)
	encoderSignatures[num].encoderNo	= num;
	encoderSignatures[num].switchDevNo	= 0;
	encoderSignatures[num].switchPinNo	= 6;
	encoderSignatures[num].enc_A_DevNo	= 0;
	encoderSignatures[num].enc_A_PinNo	= 2;
	encoderSignatures[num].enc_B_DevNo	= 0;
	encoderSignatures[num].enc_B_PinNo	= 3;
	++num;													// Switch #1 (Alt)
	encoderSignatures[num].encoderNo	= num;
	encoderSignatures[num].switchDevNo	= 0;
	encoderSignatures[num].switchPinNo	= 1;
	encoderSignatures[num].enc_A_DevNo	= 0xff;
	encoderSignatures[num].enc_A_PinNo	= 0xff;
	encoderSignatures[num].enc_B_DevNo	= 0xff;
	encoderSignatures[num].enc_B_PinNo	= 0xff;
	++num;													// Switch #2 (<)
	encoderSignatures[num].encoderNo	= num;
	encoderSignatures[num].switchDevNo	= 0;
	encoderSignatures[num].switchPinNo	= 7;
	encoderSignatures[num].enc_A_DevNo	= 0xff;
	encoderSignatures[num].enc_A_PinNo	= 0xff;
	encoderSignatures[num].enc_B_DevNo	= 0xff;
	encoderSignatures[num].enc_B_PinNo	= 0xff;
	++num;													// Switch #3 (>)
	encoderSignatures[num].encoderNo	= num;
	encoderSignatures[num].switchDevNo	= 1;
	encoderSignatures[num].switchPinNo	= 0;
	encoderSignatures[num].enc_A_DevNo	= 0xff;
	encoderSignatures[num].enc_A_PinNo	= 0xff;
	encoderSignatures[num].enc_B_DevNo	= 0xff;
	encoderSignatures[num].enc_B_PinNo	= 0xff;
	++num;													// Switch #4 (Setup)
	encoderSignatures[num].encoderNo	= num;
	encoderSignatures[num].switchDevNo	= 1;
	encoderSignatures[num].switchPinNo	= 1;
	encoderSignatures[num].enc_A_DevNo	= 0xff;
	encoderSignatures[num].enc_A_PinNo	= 0xff;
	encoderSignatures[num].enc_B_DevNo	= 0xff;
	encoderSignatures[num].enc_B_PinNo	= 0xff;
	++num;													// Switch #5 (Load)
	encoderSignatures[num].encoderNo	= num;
	encoderSignatures[num].switchDevNo	= 1;
	encoderSignatures[num].switchPinNo	= 2;
	encoderSignatures[num].enc_A_DevNo	= 0xff;
	encoderSignatures[num].enc_A_PinNo	= 0xff;
	encoderSignatures[num].enc_B_DevNo	= 0xff;
	encoderSignatures[num].enc_B_PinNo	= 0xff;
	++num;													// Switch #6 (Save)
	encoderSignatures[num].encoderNo	= num;
	encoderSignatures[num].switchDevNo	= 1;
	encoderSignatures[num].switchPinNo	= 3;
	encoderSignatures[num].enc_A_DevNo	= 0xff;
	encoderSignatures[num].enc_A_PinNo	= 0xff;
	encoderSignatures[num].enc_B_DevNo	= 0xff;
	encoderSignatures[num].enc_B_PinNo	= 0xff;
	++num;													// Switch #7 (Exit)
	encoderSignatures[num].encoderNo	= num;
	encoderSignatures[num].switchDevNo	= 0;
	encoderSignatures[num].switchPinNo	= 4;
	encoderSignatures[num].enc_A_DevNo	= 0xff;
	encoderSignatures[num].enc_A_PinNo	= 0xff;
	encoderSignatures[num].enc_B_DevNo	= 0xff;
	encoderSignatures[num].enc_B_PinNo	= 0xff;

	// Create a signature map for all encoders/switches
	constexpr uint32_t noADC_Multiplexers 	= 2;			// 2 multiplexers: 1 pots & 1 sliders
	static CasualNoises::sADC_MultiplexerSignature sADC_MultiplexerSignatures[noADC_Multiplexers];
	num = 0;												// Potentiometer multiplexer
	sADC_MultiplexerSignatures[num].SO_Pin	= POTS_S0_Pin;
	sADC_MultiplexerSignatures[num].SO_Port	= GPIOD;
	sADC_MultiplexerSignatures[num].S1_Pin	= POTS_S1_Pin;
	sADC_MultiplexerSignatures[num].S1_Port	= GPIOD;
	sADC_MultiplexerSignatures[num].S2_Pin	= POTS_S2_Pin;
	sADC_MultiplexerSignatures[num].S2_Port	= GPIOD;
	sADC_MultiplexerSignatures[num].mask	= 0x56;
	++num;													// Slider multiplexer
	sADC_MultiplexerSignatures[num].SO_Pin	= SLIDERS_S0_Pin;
	sADC_MultiplexerSignatures[num].SO_Port	= GPIOA;
	sADC_MultiplexerSignatures[num].S1_Pin	= SLIDERS_S1_Pin;
	sADC_MultiplexerSignatures[num].S1_Port	= GPIOA;
	sADC_MultiplexerSignatures[num].S2_Pin	= SLIDERS_S2_Pin;
	sADC_MultiplexerSignatures[num].S2_Port	= SLIDERS_S2_GPIO_Port;
	sADC_MultiplexerSignatures[num].mask	= 0xff;

	// Encoder #1 (Value)
	// Create a UI thread and run it
	// Note, part of the UI_ThreadData is filled in by the UI thread when starting up
//	void (*nerveNetCallBackPtr)(CasualNoises::sNerveNetData*) = nullptr;
	static CasualNoises::UI_ThreadData uiData;
	// ... NVM Driver settings
	uiData.nvmDriverInitData.noOfDevices				= 2;
	uiData.nvmDriverInitData.hspix_ptr					= &hspi5;
	uiData.nvmDriverInitData.deviceSelectPorts[0]		= FLASH_CS_1_GPIO_Port;
	uiData.nvmDriverInitData.deviceSelectPins[0]		= FLASH_CS_1_Pin;
	uiData.nvmDriverInitData.deviceSelectPorts[1]		= FLASH_CS_2_GPIO_Port;
	uiData.nvmDriverInitData.deviceSelectPins[1]		= FLASH_CS_2_Pin;
	// ... encoder thread settings
	uiData.spiEncoderThreadData.encoderSignatureArray	= encoderSignatures; // Encoder signature array
	uiData.spiEncoderThreadData.noOfEncoders			= noOfEncoders;
	uiData.spiEncoderThreadData.encoder_SPI_Handle		= &hspi1;			// SPI1 is used for encoders and switches
	uiData.spiEncoderThreadData.serInPL_Port			= GPIOD;			// Port and pin for parallel load of shift registers
	uiData.spiEncoderThreadData.serInPL_Pin				= SER_IN_PL_Pin;
	uiData.spiEncoderThreadData.noOfDevices				= 2;				// No of available shift registers
	// ... led thread settings
	uiData.spi_LED_ThreadData.LED_SPI_Handle			= &hspi2;
	uiData.spi_LED_ThreadData.TimerHandle				= &htim4;
	uiData.spi_LED_ThreadData.SER_OUT_RCLK_GPIO__Port	= SER_OUT_RCLK_GPIO_Port;
	uiData.spi_LED_ThreadData.SER_OUT_RCLK_GPIO_Pin		= SER_OUT_RCLK_Pin;
	// ... oled display settings
	uiData.oledConfigData.SPI							= &hspi3;			// SPI3 drives the oled display
	uiData.oledConfigData.CS_PIN						= OLED_CS_Pin;
	uiData.oledConfigData.CS_PORT						= GPIOD;
	uiData.oledConfigData.DC_PIN						= OLED_DC_Pin;
	uiData.oledConfigData.DC_PORT						= GPIOD;
	uiData.oledConfigData.NRST_PIN						= OLED_RES_Pin;
	uiData.oledConfigData.NRST_PORT						= GPIOD;
	// ...
	uiData.ADC_MultiplexerThreadData.hadc				= &hadc2;
//	uiData.ADC_MultiplexerThreadData.htim				= &htim2;
	uiData.ADC_MultiplexerThreadData.noOfMultiplexers	= 2;
	uiData.ADC_MultiplexerThreadData.multiplexerSignatureArray = sADC_MultiplexerSignatures;

//	uiData.nerveNetCallBackPtr   						= &nerveNetCallBackPtr;
	res = CasualNoises::Start_UI_Thread(&uiData);
	if (res != pdPASS)
		CN_ReportFault(eErrorCodes::FreeRTOS_ErrorRes);

    /* Infinite loop */
	osDelay(200);
	displayStatus(scRunning);
	for(;;)
	{
//		uint32_t counterValue2  = __HAL_TIM_GET_COUNTER(&htim2);								// ToDo remove debug code
//		uint32_t counterValue4  = __HAL_TIM_GET_COUNTER(&htim4);
//		uint32_t counterValue15 = __HAL_TIM_GET_COUNTER(&htim15);

		HAL_GPIO_WritePin(EX_HEART_BEAT_GPIO_Port, EX_HEART_BEAT_Pin, GPIO_PIN_RESET);
		osDelay(pdMS_TO_TICKS(100));
		HAL_GPIO_WritePin(EX_HEART_BEAT_GPIO_Port, EX_HEART_BEAT_Pin, GPIO_PIN_SET);
		osDelay(pdMS_TO_TICKS(100));
		HAL_GPIO_WritePin(EX_HEART_BEAT_GPIO_Port, EX_HEART_BEAT_Pin, GPIO_PIN_RESET);
		osDelay(pdMS_TO_TICKS(100));
		HAL_GPIO_WritePin(EX_HEART_BEAT_GPIO_Port, EX_HEART_BEAT_Pin, GPIO_PIN_SET);
		osDelay(pdMS_TO_TICKS(700));
	}

  /* USER CODE END 5 */
}

 /* MPU Configuration */

void MPU_Config(void)
{
  MPU_Region_InitTypeDef MPU_InitStruct = {0};

  /* Disables the MPU */
  HAL_MPU_Disable();

  /** Initializes and configures the Region and the memory to be protected
  */
  MPU_InitStruct.Enable = MPU_REGION_ENABLE;
  MPU_InitStruct.Number = MPU_REGION_NUMBER0;
  MPU_InitStruct.BaseAddress = 0x0;
  MPU_InitStruct.Size = MPU_REGION_SIZE_4GB;
  MPU_InitStruct.SubRegionDisable = 0x87;
  MPU_InitStruct.TypeExtField = MPU_TEX_LEVEL0;
  MPU_InitStruct.AccessPermission = MPU_REGION_NO_ACCESS;
  MPU_InitStruct.DisableExec = MPU_INSTRUCTION_ACCESS_DISABLE;
  MPU_InitStruct.IsShareable = MPU_ACCESS_SHAREABLE;
  MPU_InitStruct.IsCacheable = MPU_ACCESS_NOT_CACHEABLE;
  MPU_InitStruct.IsBufferable = MPU_ACCESS_NOT_BUFFERABLE;

  HAL_MPU_ConfigRegion(&MPU_InitStruct);
  /* Enables the MPU */
  HAL_MPU_Enable(MPU_PRIVILEGED_DEFAULT);

}

void HAL_TIM_PeriodElapsedCallback(TIM_HandleTypeDef *htim)
{
  /* USER CODE BEGIN Callback 0 */
	static uint32_t tim2Cnt = 0;								// ToDo remove debug code
	static uint32_t tim6Cnt = 0;

	if (htim->Instance == TIM2)
	{
	  ++tim2Cnt;
	}
	else if (htim->Instance == TIM4)
	{
	  CasualNoises::Handle_LED_RefreshInterrupts();
	}
	else if (htim->Instance == TIM6)
	{
		++tim6Cnt;
	}

  /* USER CODE END Callback 0 */
  if (htim->Instance == TIM1)
  {
    HAL_IncTick();
  }
}

void Error_Handler(void)
{
  __disable_irq();
  while (1)
  {
  }
}
